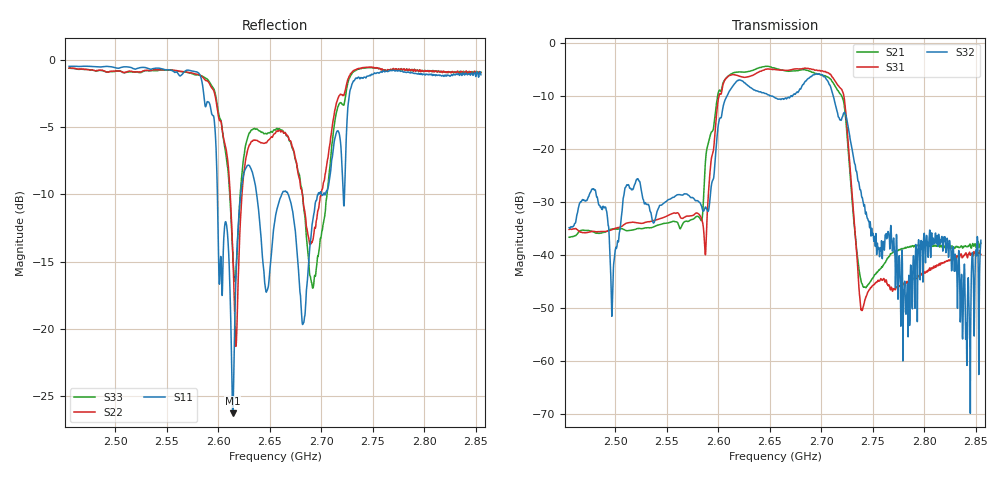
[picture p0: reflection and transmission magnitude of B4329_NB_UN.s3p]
! Matrix data file written by TouchstoneData, EPCOS AG
! FILENAME: "B4329_NB.snp"
! COMMENT: "(B4329_NB.s3p) Epcos AG 6/28/2013 11:17:24 A"
! INFO: nport=3, nfreq=1601
! DATE: "Fri Jul 12 10:16:26 2013"
! USER: "Rosemary Xue"
! port | pin | signal
!  1  |  1  |  IN
!  2  |  3  |  OUT_BAL
!  3  |  4  |  OUT_BAL
# MHZ S RI R 50
! freq  reS11 imS11  reS12 imS12  reS13 imS13  ...
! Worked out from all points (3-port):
!   1601 points, 2.455 GHz to 2.855 GHz, reference 50 ohm
!   strongest paths, dB at 2.455 GHz, 2.555 GHz, 2.655 GHz, 2.755 GHz, 2.855 GHz:
!     S32: -34.8, -29.2, -10.3, -38.9, -37.2
!     S31: -35.2, -32.2, -5.0, -44.8, -39.9
!     S21: -36.7, -33.7, -4.8, -43.1, -37.8
!   lowest |S11| = -26.3 dB at 2.614 GHz (marker M1), VSWR 1.10, Z = 55 + j0.855 ohm
!   |S11| at or under -10 dB: 2.599 GHz to 2.622 GHz (22.63 MHz wide, 0.867 % of centre); 2.637 GHz to 2.662 GHz (24.34 MHz wide, 0.919 % of centre); 2.668 GHz to 2.697 GHz (29.11 MHz wide, 1.09 % of centre) (the widest 3 of 6)
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2455  -0.7076 -0.6274  -0.0127 0.00731  -0.0139 0.0103
      -0.0127 0.00735  -0.1423 -0.9214  -0.0181 0.00143
      -0.0139 0.0104  -0.018 0.00144  -0.1175 -0.9231
2586.75  -0.5733 0.3817  -0.0399 0.0438  0.0105 0.0052
         -0.04 0.0441  -0.6398 -0.5496  -0.0245 0.0121
         0.0105 0.00516  -0.0245 0.012  -0.6431 -0.5691
2614  0.048 0.00775  -0.4435 -0.2649  0.4506 0.2216
      -0.4447 -0.265  -0.1402 0.1308  0.0176 0.3908
      0.4512 0.2214  0.0175 0.3902  -0.0648 0.176
2655  0.1224 -0.224  0.5514 0.1667  -0.5368 -0.1647
      0.5528 0.1664  -0.1417 -0.5129  -0.1931 -0.236
      -0.5373 -0.1643  -0.1923 -0.2358  -0.1306 -0.5319
2681.75  -0.043 0.0945  0.0449 -0.5565  -0.0636 0.5687
         0.0441 -0.5576  -0.3125 0.0246  -0.3478 0.201
         -0.0637 0.5693  -0.3472 0.2007  -0.3131 -0.043
2700.25  0.259 -0.1824  -0.4966 -0.0533  0.5384 0.0873
         -0.4976 -0.0529  0.2807 0.1595  0.2904 0.4097
         0.5387 0.0865  0.2897 0.4091  0.1966 0.1133
2720.25  0.1971 -0.339  0.266 0.1549  -0.3045 -0.1826
         0.2666 0.1551  0.7126 -0.2063  0.1651 -0.1125
         -0.3052 -0.1825  0.1648 -0.1123  0.6696 -0.1364
2739.75  0.3999 -0.7582  -0.00406 -0.00342  -0.00294 0.000683
         -0.00405 -0.00342  0.6876 -0.6329  -0.0169 -0.0304
         -0.00294 0.00069  -0.0169 -0.0304  0.72 -0.5909
2781  -0.0107 -0.901  -0.0115 -0.00133  -0.00537 0.000235
      -0.0116 -0.00133  0.3832 -0.8344  -0.00549 -0.0014
      -0.00539 0.000257  -0.00548 -0.0014  0.4182 -0.8188
2855  -0.2485 -0.8442  -0.0128 0.00206  -0.00986 0.00209
      -0.0128 0.00207  0.1994 -0.8731  -0.00819 -0.0111
      -0.00988 0.0021  -0.00818 -0.0111  0.2361 -0.8688
